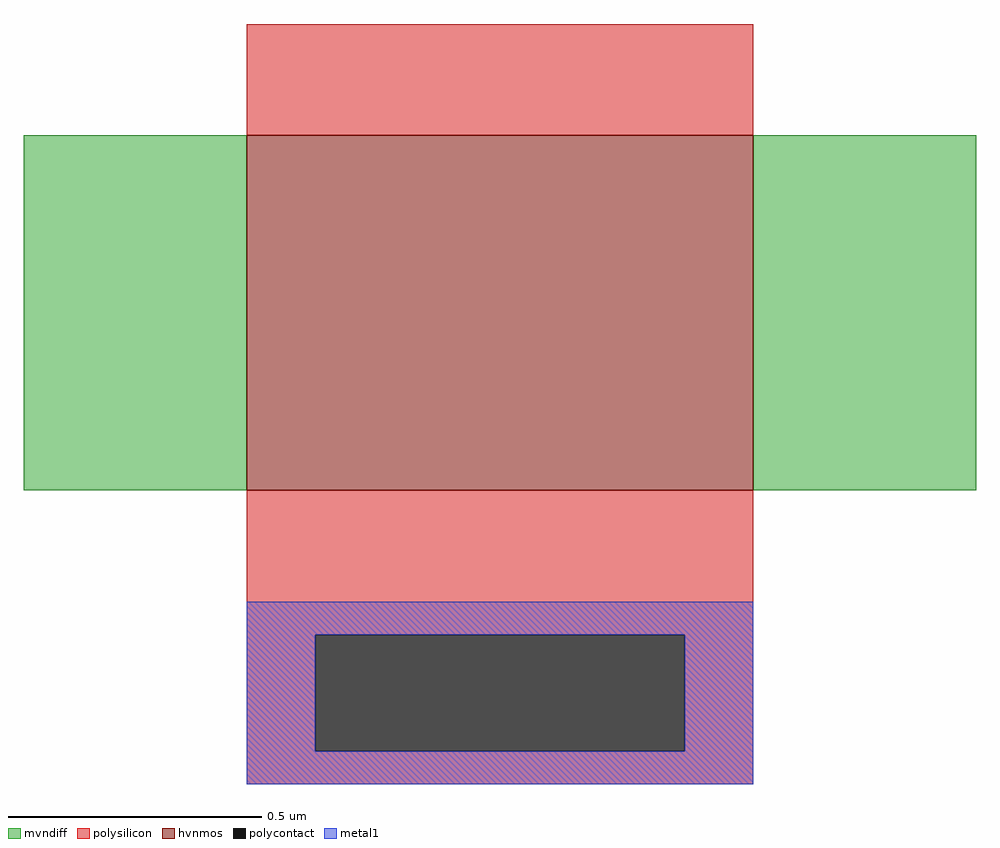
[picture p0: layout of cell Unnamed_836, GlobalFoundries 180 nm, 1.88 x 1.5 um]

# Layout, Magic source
magic
tech gf180mcuD
magscale 1 10
<< hvnmos >>
rect 14 0 214 140
<< mvndiff >>
rect -74 0 14 140
rect 214 0 302 140
<< polysilicon >>
rect 14 140 214 184
rect 14 -57 214 0
rect 14 -103 41 -57
rect 187 -103 214 -57
rect 14 -116 214 -103
<< polycontact >>
rect 41 -103 187 -57
<< metal1 >>
rect 14 -57 214 -44
rect 14 -103 41 -57
rect 187 -103 214 -57
rect 14 -116 214 -103
<< end >>
